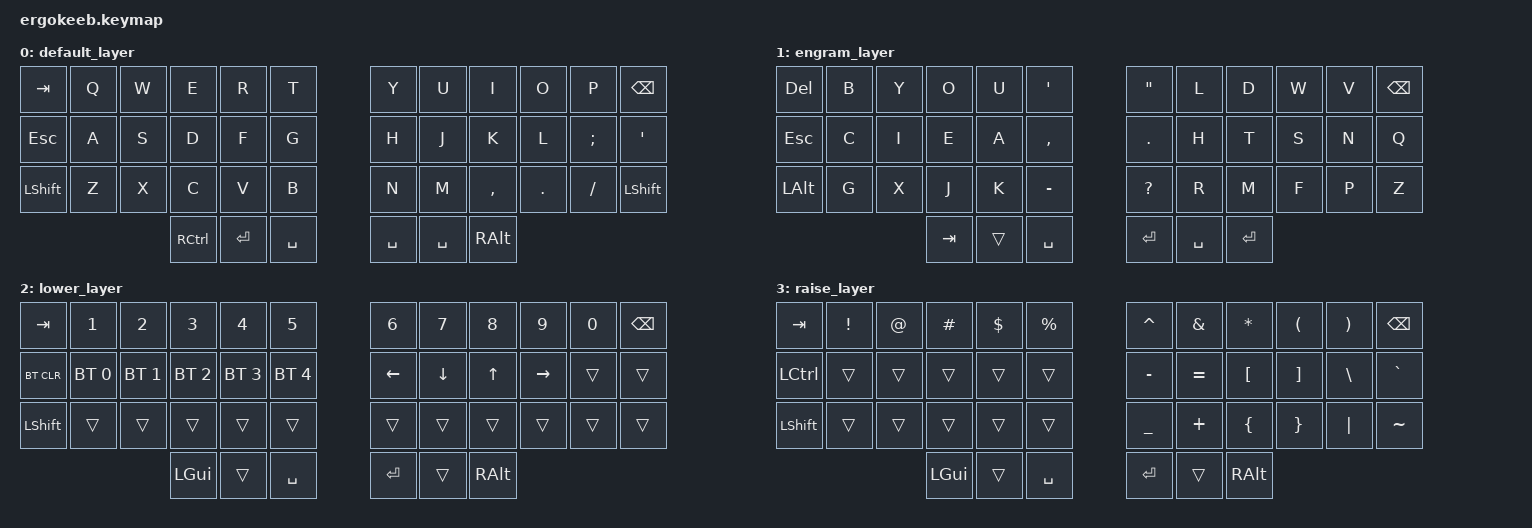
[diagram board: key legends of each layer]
/*
 * Copyright (c) 2022 The ZMK Contributors
 *
 * SPDX-License-Identifier: MIT
 */

#include <behaviors.dtsi>
#include <dt-bindings/zmk/keys.h>
#include <dt-bindings/zmk/bt.h>

/ {
        keymap {
                compatible = "zmk,keymap";

                default_layer {
// -----------------------------------------------------------------------------------------
// |  TAB |  Q  |  W  |  E  |  R  |  T  |   |  Y  |  U   |  I  |  O  |  P  | BSPC |
// | CTRL |  A  |  S  |  D  |  F  |  G  |   |  H  |  J   |  K  |  L  |  ;  |  '   |
// | SHFT |  Z  |  X  |  C  |  V  |  B  |   |  N  |  M   |  ,  |  .  |  /  | ESC  |
//                    | GUI | LWR | SPC |   | ENT | RSE  | ALT |
                        bindings = <
   &kp TAB   &kp Q &kp W &kp E &kp R &kp T    &kp Y &kp U  &kp I     &kp O   &kp P    &kp BSPC
   &kp ESC   &kp A &kp S &kp D &kp F &kp G    &kp H &kp J  &kp K     &kp L   &kp SEMI &kp SQT
   &kp LSHFT &kp Z &kp X &kp C &kp V &kp B    &kp N &kp M  &kp COMMA &kp DOT &kp FSLH &kp LSHFT
               &kp RCTRL &kp ENTER &kp SPACE    &kp SPACE &kp SPACE &kp RALT
                        >;
                };

                engram_layer {
// -----------------------------------------------------------------------------------------
// |  TAB |  1  |  2  |  3  |  4  |  5  |   |  6  |  7  |  8  |  9  |  0  | BSPC |
// | BTCLR| BT1 | BT2 | BT3 | BT4 | BT5 |   | LFT | DWN |  UP | RGT |     |      |
// | SHFT |     |     |     |     |     |   |     |     |     |     |     |      |
//                    | GUI |     | SPC |   | ENT |     | ALT |
                        bindings = <
   &kp DEL    &kp B       &kp Y       &kp O       &kp U       &kp SQT         &kp DQT   &kp L   &kp D &kp W    &kp V &kp BSPC
   &kp ESC    &kp C       &kp I       &kp E       &kp A       &kp COMMA       &kp DOT   &kp H   &kp T &kp S    &kp N &kp Q
   &kp LALT   &kp G       &kp X       &kp J       &kp K       &kp MINUS       &kp QMARK &kp R   &kp M &kp F    &kp P &kp Z
                          &kp TAB     &trans      &kp SPACE   &kp RET  &kp SPACE  &kp ENTER
                        >;
                };
                
                lower_layer {
// -----------------------------------------------------------------------------------------
// |  TAB |  1  |  2  |  3  |  4  |  5  |   |  6  |  7  |  8  |  9  |  0  | BSPC |
// | BTCLR| BT1 | BT2 | BT3 | BT4 | BT5 |   | LFT | DWN |  UP | RGT |     |      |
// | SHFT |     |     |     |     |     |   |     |     |     |     |     |      |
//                    | GUI |     | SPC |   | ENT |     | ALT |
                        bindings = <
   &kp TAB    &kp N1       &kp N2       &kp N3       &kp N4       &kp N5         &kp N6   &kp N7   &kp N8 &kp N9    &kp N0 &kp BSPC
   &bt BT_CLR &bt BT_SEL 0 &bt BT_SEL 1 &bt BT_SEL 2 &bt BT_SEL 3 &bt BT_SEL 4   &kp LEFT &kp DOWN &kp UP &kp RIGHT &trans &trans
   &kp LSHFT  &trans       &trans       &trans       &trans       &trans         &trans   &trans   &trans &trans    &trans &trans
                                    &kp LGUI     &trans       &kp SPACE      &kp RET  &trans   &kp RALT
                        >;
                };

                raise_layer {
// -----------------------------------------------------------------------------------------
// |  TAB |  !  |  @  |  #  |  $  |  %  |   |  ^  |  &  |  *  |  (  |  )  | BSPC |
// | CTRL |     |     |     |     |     |   |  -  |  =  |  [  |  ]  |  \  |  `   |
// | SHFT |     |     |     |     |     |   |  _  |  +  |  {  |  }  | "|" |  ~   |
//                    | GUI |     | SPC |   | ENT |     | ALT |
                        bindings = <
   &kp  TAB  &kp EXCL &kp AT &kp HASH &kp DLLR &kp PRCNT   &kp CARET &kp AMPS  &kp ASTRK &kp LPAR &kp RPAR &kp BSPC
   &kp LCTRL &trans   &trans &trans   &trans   &trans      &kp MINUS &kp EQUAL &kp LBKT  &kp RBKT &kp BSLH &kp GRAVE
   &kp LSHFT &trans   &trans &trans   &trans   &trans      &kp UNDER &kp PLUS  &kp LBRC  &kp RBRC &kp PIPE &kp TILDE
                             &kp LGUI &trans   &kp SPACE   &kp RET   &trans    &kp RALT
                        >;
                };
        };
};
